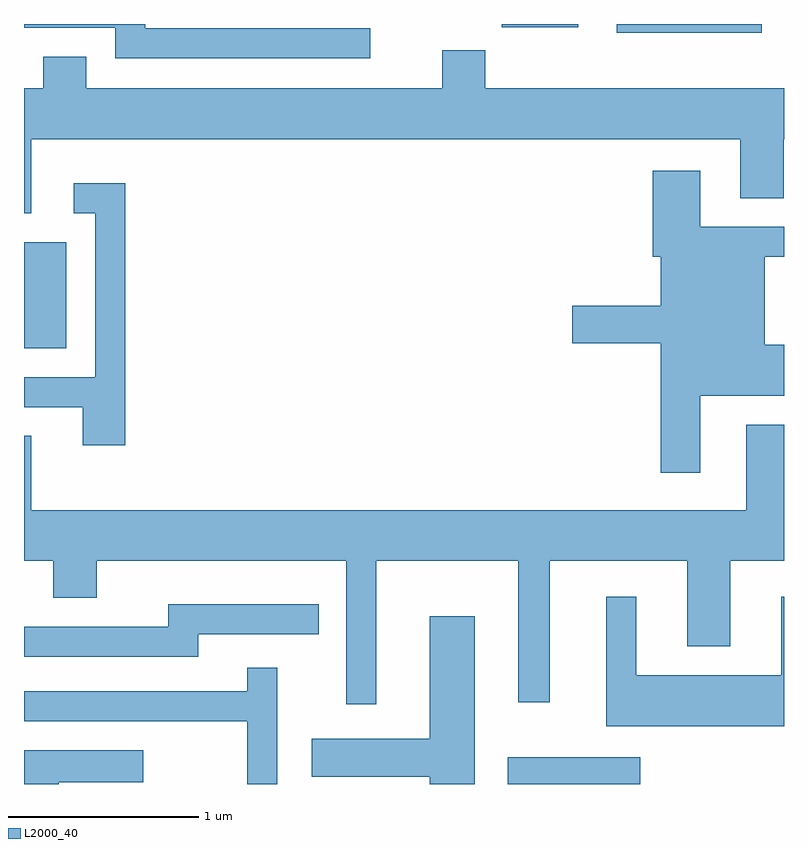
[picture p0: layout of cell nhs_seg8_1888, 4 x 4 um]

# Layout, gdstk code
import gdstk
lib = gdstk.Library(unit=1e-6, precision=1e-09)
def R(c, l, rs):  # rectangles x0, y0, x1, y1
    for r in rs: c.add(gdstk.rectangle(r[:2], r[2:], *l))
def P(c, l, *ps):  # polygons
    for p in ps: c.add(gdstk.Polygon(p, *l))
L2000_40 = (2000, 40)

nhs_seg8_1888 = lib.new_cell('nhs_seg8_1888')
R(nhs_seg8_1888, L2000_40, [(244.156,1846.342,244.854,1846.484), (241.611,1848.636,241.834,1849.194), (244.731,1850.296,245.494,1850.342), (244.126,1850.326,244.529,1850.342)])
P(nhs_seg8_1888, L2000_40, [(243.433,1850.319),(242.249,1850.319),(242.249,1850.342),(241.611,1850.342),(241.611,1850.321),(242.091,1850.321),(242.091,1850.161),(243.433,1850.161)],
  [(241.649,1849.736),(245.381,1849.736),(245.381,1849.426),(245.609,1849.426),(245.609,1849.736),(245.611,1849.736),(245.611,1850.004),(244.039,1850.004),(244.039,1850.204),(243.811,1850.204),(243.811,1850.004),(241.939,1850.004),(241.939,1850.169),(241.711,1850.169),(241.711,1850.004),(241.611,1850.004),(241.611,1849.346),(241.649,1849.346)],
  [(245.169,1848.386),(245.611,1848.386),(245.611,1848.654),(245.509,1848.654),(245.509,1849.116),(245.611,1849.116),(245.611,1849.274),(245.169,1849.274),(245.169,1849.569),(244.921,1849.569),(244.921,1849.116),(244.961,1849.116),(244.961,1848.859),(244.496,1848.859),(244.496,1848.661),(244.961,1848.661),(244.961,1847.981),(245.169,1847.981)],
  [(242.144,1849.504),(241.873,1849.504),(241.873,1849.346),(241.986,1849.346),(241.986,1848.484),(241.611,1848.484),(241.611,1848.326),(241.921,1848.326),(241.921,1848.126),(242.144,1848.126)],
  [(243.464,1847.516),(244.211,1847.516),(244.211,1846.773),(244.379,1846.773),(244.379,1847.516),(245.101,1847.516),(245.101,1847.066),(245.329,1847.066),(245.329,1847.516),(245.611,1847.516),(245.611,1848.234),(245.411,1848.234),(245.411,1847.784),(241.649,1847.784),(241.649,1848.174),(241.611,1848.174),(241.611,1847.516),(241.766,1847.516),(241.766,1847.321),(241.994,1847.321),(241.994,1847.516),(243.306,1847.516),(243.306,1846.763),(243.464,1846.763)],
  [(245.611,1847.328),(245.596,1847.328),(245.596,1846.914),(244.834,1846.914),(244.834,1847.328),(244.676,1847.328),(244.676,1846.646),(245.611,1846.646)],
  [(242.529,1847.131),(243.163,1847.131),(243.163,1847.289),(242.371,1847.289),(242.371,1847.169),(241.611,1847.169),(241.611,1847.011),(242.529,1847.011)],
  [(243.984,1847.224),(243.746,1847.224),(243.746,1846.579),(243.126,1846.579),(243.126,1846.381),(243.746,1846.381),(243.746,1846.342),(243.984,1846.342)],
  [(242.944,1846.953),(242.786,1846.953),(242.786,1846.829),(241.611,1846.829),(241.611,1846.671),(242.786,1846.671),(242.786,1846.342),(242.944,1846.342)],
  [(241.794,1846.351),(242.238,1846.351),(242.238,1846.519),(241.611,1846.519),(241.611,1846.342),(241.794,1846.342)])

lib.write_gds('nhs_seg8_1888.gds')
